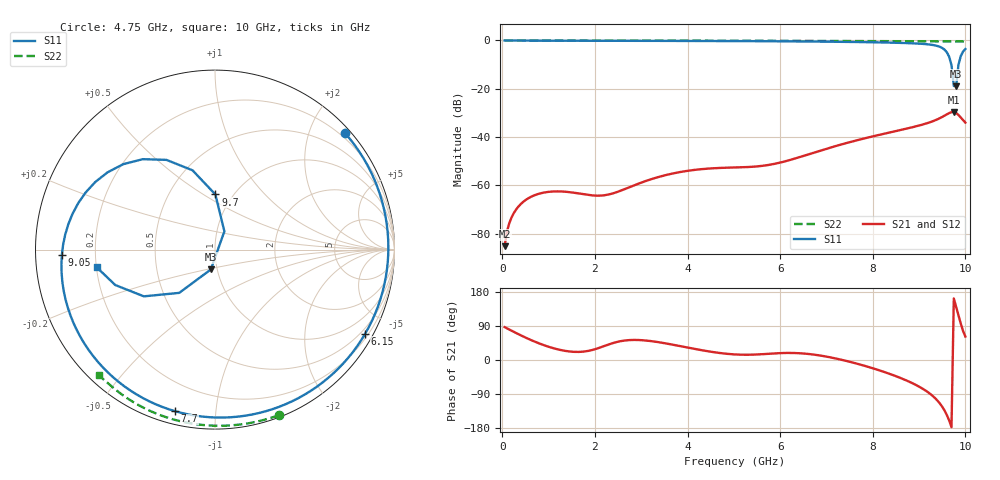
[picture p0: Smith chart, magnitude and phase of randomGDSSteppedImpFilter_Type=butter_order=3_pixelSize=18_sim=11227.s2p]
! freq	dB(S11)	phase(S11)	dB(S12)	phase(S12)
!  dB(S21)	phase(S21)	dB(S22)	phase(S22)
!S-par simulation data
#  GHz  S  DB  R 50
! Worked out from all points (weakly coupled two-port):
!   200 points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, 50 MHz to 10 GHz, reference 50 ohm
!   highest |S21| = -29.61 dB at 9.75 GHz (marker M1); lowest = -85.1 dB at 50 MHz (marker M2)
!   lowest |S11| = -18.9 dB at 9.8 GHz (marker M3), VSWR 1.26, Z = 46.6 - j10.5 ohm
!   |S11| at or under -10 dB: 9.696 GHz to 9.851 GHz (154.9 MHz wide, 1.58 % of centre)
!   |S22| runs from -0.4 to 0.0 dB; largest |S21 - S12| = 0
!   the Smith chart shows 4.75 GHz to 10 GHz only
!   S11 on the Smith chart (normalised r, x): 4.75 GHz: 0.11, +2.61; 6.15 GHz: 0.33, -3.81; 7.7 GHz: 0.06, -0.78; 9.05 GHz: 0.08, -0.02; 9.7 GHz: 0.83, +0.56; 10 GHz: 0.20, -0.07
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0.05  -0.00 -5.7  -85.12 86.8  -85.12 86.8  -0.00 -0.8
0.35  -0.05 -39.1  -68.70 68.0  -68.70 68.0  -0.01 -5.4
0.8  -0.10 -84.3  -63.38 43.6  -63.38 43.6  -0.02 -12.2
1.3  -0.12 -125.8  -62.51 25.4  -62.51 25.4  -0.02 -19.8
1.75  -0.13 -156.9  -63.62 22.1  -63.62 22.1  -0.03 -26.5
2.5  -0.15 159.1  -62.57 48.3  -62.57 48.3  -0.05 -37.5
3.4  -0.17 111.6  -56.36 46.5  -56.36 46.5  -0.07 -50.4
4.05  -0.20 78.1  -53.81 31.7  -53.81 31.7  -0.08 -59.5
4.75  -0.24 41.9  -52.71 17.7  -52.71 17.7  -0.10 -69.0
5.05  -0.26 26.4  -52.54 14.5  -52.54 14.5  -0.11 -72.9
6.15  -0.36 -29.2  -49.80 18.6  -49.80 18.6  -0.15 -87.1
6.7  -0.44 -56.0  -46.59 14.7  -46.59 14.7  -0.18 -94.0
7.7  -0.65 -103.8  -41.10 -11.1  -41.10 -11.1  -0.24 -106.1
8.35  -0.88 -136.3  -38.14 -35.9  -38.14 -35.9  -0.29 -113.8
9.05  -1.38 -178.1  -34.94 -73.8  -34.94 -73.8  -0.35 -121.9
9.4  -2.31 150.6  -32.60 -107.6  -32.60 -107.6  -0.39 -125.9
9.6  -4.91 118.4  -30.56 -145.3  -30.56 -145.3  -0.41 -128.1
9.7  -10.25 89.6  -29.67 -177.2  -29.67 -177.2  -0.41 -129.2
9.75  -18.84 62.8  -29.61 162.5  -29.61 162.5  -0.41 -129.8
9.8  -18.92 -101.9  -30.00 140.2  -30.00 140.2  -0.41 -130.4
9.85  -10.09 -129.6  -30.82 117.7  -30.82 117.7  -0.42 -131.0
10  -3.53 -171.5  -34.01 61.7  -34.01 61.7  -0.43 -132.7
